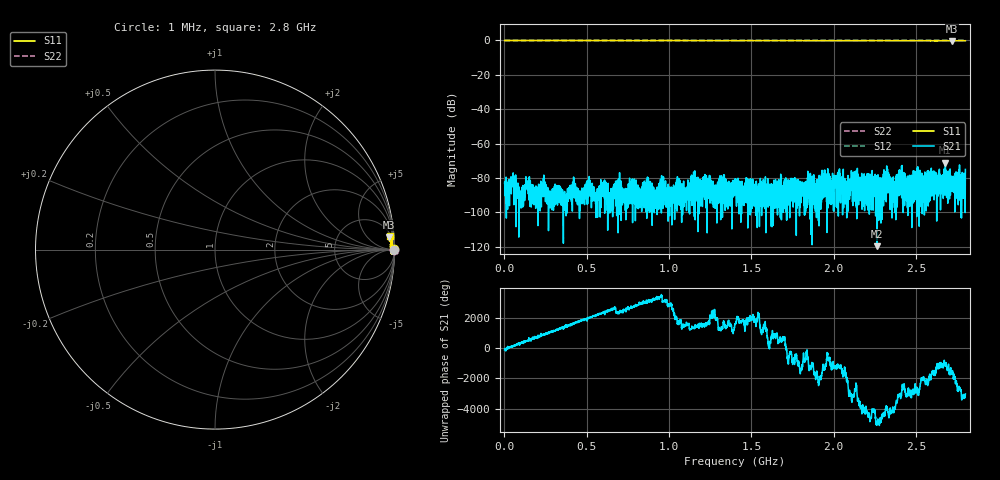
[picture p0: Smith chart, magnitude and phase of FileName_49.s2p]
! Anritsu VNA Master:  Model: MS2025B
! SN:  1642059
! /bd0/PROE/TP1/FileName_49.s2p
! Existing Calibration Information:
! TYPE:  Current Settings,  Active Cal Settings
! TIME:  04/16/2024 08:15:19 AM,  03/12/2018 11:45:53 AM
! INTERNAL TEMP:  41.3 C,  40.8 C
! # POINTS:  4001,  4001
! START FREQ:  1.000 MHz,  1.000 MHz
! STOP FREQ:  2.800 GHz,  2.800 GHz
! SOURCE POWER:  Default,  Default
! IFBW:  1 kHz,  1 kHz
! AVG FACTOR:  1 ,  1
! REF PLANE 1:  0 mm,  0 mm
! REF PLANE 2:  0 mm,  0 mm
! CAL TYPE:  1P2P S11,S21,  1P2P S11,S21
! CAL METHOD:  SOLT,  SOLT
! CAL LINE TYPE:  Coax,  Coax
! DUT PORT 1:  ,
! DUT PORT 2:  N-Conn(M),  N-Conn(M)
! CAL STATUS:  OK: Accuracy High,  --
# GHZ S MA R 50.0
! FREQ.GHZ  S11M  S11A  S21M  S21A  S12M  S12A  S22M  S22A
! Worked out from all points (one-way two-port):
!   4001 points, 1 MHz to 2.8 GHz, reference 50 ohm
!   highest |S21| = -71.04 dB at 2.678 GHz (marker M1); lowest = -119.6 dB at 2.264 GHz (marker M2)
!   lowest |S11| = -0.3 dB at 2.721 GHz (marker M3), VSWR 68.22, Z = 474 + j1.18e+03 ohm
!   |S11| at or under -10 dB: nowhere
!   |S22| runs from 0.0 to 0.0 dB; largest |S21 - S12| = 1
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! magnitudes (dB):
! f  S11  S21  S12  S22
! 1 MHz  0.0  -83.1  0.0  0.0
! 467.7 MHz  0.0  -91.5  0.0  0.0
! 934.5 MHz  -0.1  -88.5  0.0  0.0
! 1.401 GHz  -0.1  -84.4  0.0  0.0
! 1.867 GHz  -0.1  -93.7  0.0  0.0
! 2.009 GHz  -0.2  -79.9  0.0  0.0
! 2.023 GHz  -0.2  -85.7  0.0  0.0
! 2.093 GHz  -0.1  -85.0  0.0  0.0
! 2.13 GHz  -0.2  -77.7  0.0  0.0
! 2.163 GHz  -0.1  -85.0  0.0  0.0
! 2.264 GHz  -0.1  -119.6  0.0  0.0
! 2.314 GHz  -0.1  -81.9  0.0  0.0
! 2.334 GHz  -0.2  -87.1  0.0  0.0
! 2.367 GHz  -0.2  -82.0  0.0  0.0
! 2.404 GHz  -0.2  -83.3  0.0  0.0
! 2.447 GHz  -0.2  -89.0  0.0  0.0
! 2.498 GHz  -0.2  -91.3  0.0  0.0
! 2.539 GHz  -0.2  -84.9  0.0  0.0
! 2.678 GHz  -0.2  -71.0  0.0  0.0
! 2.721 GHz  -0.3  -84.7  0.0  0.0
! 2.785 GHz  -0.2  -84.7  0.0  0.0
! 2.8 GHz  -0.2  -75.0  0.0  0.0
